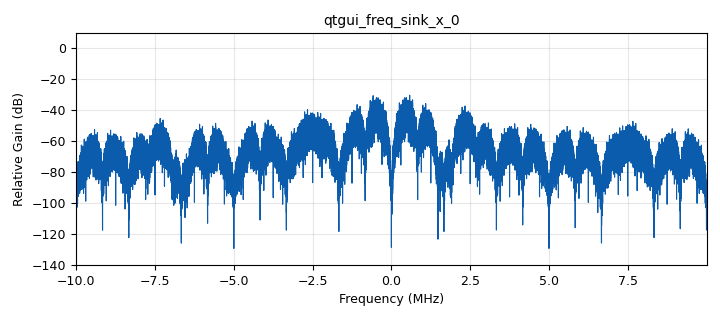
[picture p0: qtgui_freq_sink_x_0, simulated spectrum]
options:
  parameters:
    author: syml
    generate_options: qt_gui
    id: modulation_randominput
    output_language: python
    title: Not titled yet
  states: {}

blocks:
- name: data_sps
  id: variable
  parameters:
    comment: |-
      sps of b1c
      data
    value: '100'
  states: {}
- name: f_sc_b1c_a
  id: variable
  parameters:
    comment: |-
      frequency of 
      subcarrier a
      I way
    value: 1.023e6
  states: {}
- name: f_sc_b1c_b
  id: variable
  parameters:
    comment: |-
      frequency of 
      subcarrier b
      Q way
    value: 6.138e6
  states: {}
- name: pilot_sps
  id: variable
  parameters:
    comment: |-
      sps of b1c
      pilot
    value: 1.023e6
  states: {}
- name: samp_rate
  id: variable
  parameters:
    value: 6.138e6*8
  states: {}
- name: analog_const_source_x_0
  id: analog_const_source_x
  parameters:
    const: '0.5'
    type: float
  states: {}
- name: analog_const_source_x_1
  id: analog_const_source_x
  parameters:
    const: math.sqrt(1/11)
    type: float
  states: {}
- name: analog_const_source_x_2
  id: analog_const_source_x
  parameters:
    const: math.sqrt(29/44)
    type: float
  states: {}
- name: analog_random_uniform_source_x_0
  id: analog_random_uniform_source_x
  parameters:
    comment: |-
      just generating some random data
      to test the modulation system...
    maximum: '2'
    minimum: '0'
    seed: '0'
    type: byte
  states: {}
- name: analog_random_uniform_source_x_0_0
  id: analog_random_uniform_source_x
  parameters:
    comment: |-
      generate the pilot data
      to test the modulation system...
    maximum: '2'
    minimum: '0'
    seed: '0'
    type: byte
  states: {}
- name: analog_random_uniform_source_x_0_0_0
  id: analog_random_uniform_source_x
  parameters:
    comment: |-
      generate the pilot data
      to test the modulation system...
    maximum: '2'
    minimum: '0'
    seed: '0'
    type: byte
  states: {}
- name: analog_sig_source_x_0
  id: analog_sig_source_x
  parameters:
    amp: '2'
    comment: sc_B1C_b
    freq: f_sc_b1c_b
    offset: '-1'
    phase: 3.1415926/2
    samp_rate: samp_rate
    type: float
    waveform: analog.GR_SQR_WAVE
  states: {}
- name: analog_sig_source_x_0_0
  id: analog_sig_source_x
  parameters:
    amp: '2'
    comment: sc_B1C_a
    freq: f_sc_b1c_a
    offset: '-1'
    phase: 3.1415926/2
    samp_rate: samp_rate
    type: float
    waveform: analog.GR_SQR_WAVE
  states: {}
- name: blocks_add_const_vxx_0
  id: blocks_add_const_vxx
  parameters:
    const: '-1'
    type: float
  states: {}
- name: blocks_add_const_vxx_0_0
  id: blocks_add_const_vxx
  parameters:
    const: '-1'
    type: float
  states: {}
- name: blocks_add_const_vxx_0_1
  id: blocks_add_const_vxx
  parameters:
    const: '-1'
    type: float
  states: {}
- name: blocks_add_xx_0
  id: blocks_add_xx
  parameters:
    type: float
  states: {}
- name: blocks_char_to_float_0
  id: blocks_char_to_float
  parameters:
    comment: D_b1c_data
    scale: '1'
  states: {}
- name: blocks_char_to_float_1
  id: blocks_char_to_float
  parameters:
    comment: C_b1c_pilot
    scale: '1'
  states: {}
- name: blocks_char_to_float_1_0
  id: blocks_char_to_float
  parameters:
    comment: C_b1c_data
    scale: '1'
  states: {}
- name: blocks_float_to_complex_0
  id: blocks_float_to_complex
  parameters: {}
  states: {}
- name: blocks_multiply_const_vxx_0
  id: blocks_multiply_const_vxx
  parameters:
    const: '2'
    type: float
  states: {}
- name: blocks_multiply_const_vxx_0_0
  id: blocks_multiply_const_vxx
  parameters:
    const: '2'
    type: float
  states: {}
- name: blocks_multiply_const_vxx_0_1
  id: blocks_multiply_const_vxx
  parameters:
    const: '2'
    type: float
  states: {}
- name: blocks_multiply_xx_0
  id: blocks_multiply_xx
  parameters:
    comment: s_b1c_data(t)
    num_inputs: '4'
    type: float
  states: {}
- name: blocks_multiply_xx_1
  id: blocks_multiply_xx
  parameters:
    comment: s_b1c_pilot_b(t)
    num_inputs: '3'
    type: float
  states: {}
- name: blocks_multiply_xx_1_0
  id: blocks_multiply_xx
  parameters:
    comment: s_b1c_pilot_a(t)
    num_inputs: '3'
    type: float
  states: {}
- name: blocks_repeat_0
  id: blocks_repeat
  parameters:
    comment: |-
      data sps is 100
      here should be an interpolation
    interp: int(samp_rate / data_sps)
    type: byte
  states: {}
- name: blocks_repeat_1
  id: blocks_repeat
  parameters:
    comment: pilot sps is 1.023M
    interp: int(samp_rate / pilot_sps)
    type: byte
  states: {}
- name: blocks_repeat_1_0
  id: blocks_repeat
  parameters:
    comment: pilot sps is 1.023M
    interp: int(samp_rate / pilot_sps)
    type: byte
  states: {}
- name: blocks_throttle_0
  id: blocks_throttle
  parameters:
    samples_per_second: samp_rate
    type: complex
  states: {}
- name: import_0
  id: import
  parameters:
    imports: import math
  states: {}
- name: qtgui_freq_sink_x_0
  id: qtgui_freq_sink_x
  parameters:
    bw: 20e6
    fc: '0'
    fftsize: '32768'
    type: complex
  states: {}
- name: qtgui_freq_sink_x_0_0
  id: qtgui_freq_sink_x
  parameters:
    bw: samp_rate
    fc: '0'
    fftsize: '4096'
    name: '"s_b1c_data(t)"'
    type: float
  states: {state: disabled}
- name: qtgui_freq_sink_x_0_0_0
  id: qtgui_freq_sink_x
  parameters:
    bw: samp_rate
    fc: '0'
    fftsize: '4096'
    name: '"s_b1c_pilot_b(t)"'
    type: float
  states: {state: disabled}
- name: qtgui_freq_sink_x_0_0_0_0
  id: qtgui_freq_sink_x
  parameters:
    bw: samp_rate
    fc: '0'
    fftsize: '4096'
    name: '"s_b1c_pilot_a(t)"'
    type: float
  states: {state: disabled}
- name: uhd_usrp_sink_0
  id: uhd_usrp_sink
  parameters:
    ant0: '"TX/RX"'
    center_freq0: 1575.42e6
    gain0: '30'
    samp_rate: samp_rate
    sync: sync
    type: fc32
  states: {state: disabled}

connections:
- [analog_const_source_x_0, '0', blocks_multiply_xx_0, '0']
- [analog_const_source_x_1, '0', blocks_multiply_xx_1, '0']
- [analog_const_source_x_2, '0', blocks_multiply_xx_1_0, '0']
- [analog_random_uniform_source_x_0, '0', blocks_repeat_0, '0']
- [analog_random_uniform_source_x_0_0, '0', blocks_repeat_1, '0']
- [analog_random_uniform_source_x_0_0_0, '0', blocks_repeat_1_0, '0']
- [analog_sig_source_x_0, '0', blocks_multiply_xx_1, '2']
- [analog_sig_source_x_0_0, '0', blocks_multiply_xx_0, '1']
- [analog_sig_source_x_0_0, '0', blocks_multiply_xx_1_0, '1']
- [blocks_add_const_vxx_0, '0', blocks_multiply_xx_0, '2']
- [blocks_add_const_vxx_0_0, '0', blocks_multiply_xx_0, '3']
- [blocks_add_const_vxx_0_1, '0', blocks_multiply_xx_1, '1']
- [blocks_add_const_vxx_0_1, '0', blocks_multiply_xx_1_0, '2']
- [blocks_add_xx_0, '0', blocks_float_to_complex_0, '0']
- [blocks_char_to_float_0, '0', blocks_multiply_const_vxx_0, '0']
- [blocks_char_to_float_1, '0', blocks_multiply_const_vxx_0_1, '0']
- [blocks_char_to_float_1_0, '0', blocks_multiply_const_vxx_0_0, '0']
- [blocks_float_to_complex_0, '0', blocks_throttle_0, '0']
- [blocks_float_to_complex_0, '0', uhd_usrp_sink_0, '0']
- [blocks_multiply_const_vxx_0, '0', blocks_add_const_vxx_0, '0']
- [blocks_multiply_const_vxx_0_0, '0', blocks_add_const_vxx_0_0, '0']
- [blocks_multiply_const_vxx_0_1, '0', blocks_add_const_vxx_0_1, '0']
- [blocks_multiply_xx_0, '0', blocks_add_xx_0, '0']
- [blocks_multiply_xx_0, '0', qtgui_freq_sink_x_0_0, '0']
- [blocks_multiply_xx_1, '0', blocks_add_xx_0, '1']
- [blocks_multiply_xx_1, '0', qtgui_freq_sink_x_0_0_0, '0']
- [blocks_multiply_xx_1_0, '0', blocks_float_to_complex_0, '1']
- [blocks_multiply_xx_1_0, '0', qtgui_freq_sink_x_0_0_0_0, '0']
- [blocks_repeat_0, '0', blocks_char_to_float_0, '0']
- [blocks_repeat_1, '0', blocks_char_to_float_1, '0']
- [blocks_repeat_1_0, '0', blocks_char_to_float_1_0, '0']
- [blocks_throttle_0, '0', qtgui_freq_sink_x_0, '0']

metadata:
  file_format: 1
  grc_version: 3.10.5.1
